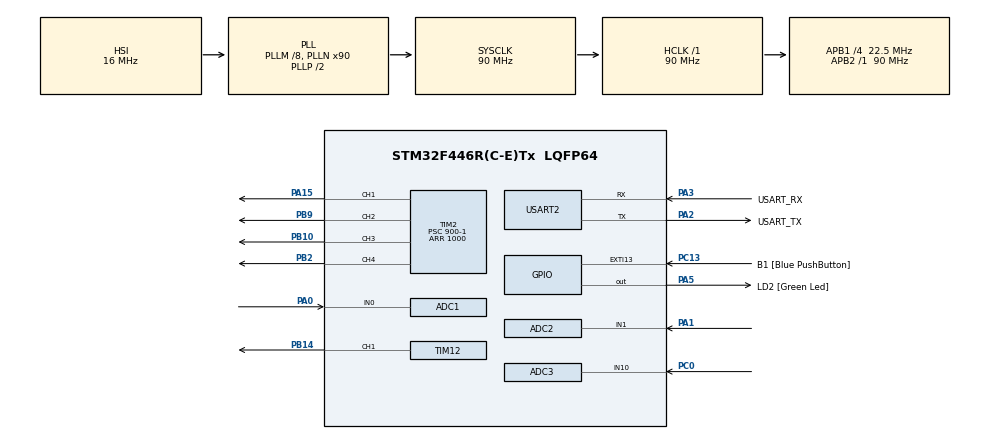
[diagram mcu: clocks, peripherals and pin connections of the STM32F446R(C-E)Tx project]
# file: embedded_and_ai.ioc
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ADC1.Channel-0\#ChannelRegularConversion=ADC_CHANNEL_0
ADC1.ContinuousConvMode=ENABLE
ADC1.NbrOfConversionFlag=1
ADC1.Rank-0\#ChannelRegularConversion=1
ADC1.SamplingTime-0\#ChannelRegularConversion=ADC_SAMPLETIME_3CYCLES
ADC1.master=1
ADC2.Channel-0\#ChannelRegularConversion=ADC_CHANNEL_1
ADC2.ContinuousConvMode=ENABLE
ADC2.NbrOfConversionFlag=1
ADC2.Rank-0\#ChannelRegularConversion=1
ADC2.SamplingTime-0\#ChannelRegularConversion=ADC_SAMPLETIME_3CYCLES
ADC3.Channel-0\#ChannelRegularConversion=ADC_CHANNEL_10
ADC3.ContinuousConvMode=ENABLE
ADC3.NbrOfConversionFlag=1
ADC3.Rank-0\#ChannelRegularConversion=1
ADC3.SamplingTime-0\#ChannelRegularConversion=ADC_SAMPLETIME_3CYCLES
Mcu.Family=STM32F4
Mcu.Name=STM32F446R(C-E)Tx
Mcu.Package=LQFP64
NVIC.PriorityGroup=NVIC_PRIORITYGROUP_0
NVIC.TIM1_TRG_COM_TIM11_IRQn=true\:0\:0\:false\:false\:true\:true\:true\:true
NVIC.TIM1_UP_TIM10_IRQn=true\:0\:0\:false\:false\:true\:true\:true\:true
NVIC.TIM2_IRQn=true\:0\:0\:false\:false\:true\:true\:true\:true
NVIC.TIM8_BRK_TIM12_IRQn=true\:0\:0\:false\:false\:true\:true\:true\:true
NVIC.TIM8_TRG_COM_TIM14_IRQn=true\:0\:0\:false\:false\:true\:true\:true\:true
NVIC.TIM8_UP_TIM13_IRQn=true\:0\:0\:false\:false\:true\:true\:true\:true
PA0-WKUP.Signal=ADCx_IN0
PA1.Signal=ADCx_IN1
PA13.GPIO_Label=TMS
PA13.Signal=SYS_JTMS-SWDIO
PA14.GPIO_Label=TCK
PA14.Signal=SYS_JTCK-SWCLK
PA15.Signal=S_TIM2_CH1_ETR
PA2.GPIO_Label=USART_TX
PA2.Mode=Asynchronous
PA2.Signal=USART2_TX
PA3.GPIO_Label=USART_RX
PA3.Mode=Asynchronous
PA3.Signal=USART2_RX
PA5.GPIO_Label=LD2 [Green Led]
PA5.Signal=GPIO_Output
PB10.Signal=S_TIM2_CH3
PB14.Signal=S_TIM12_CH1
PB2.Signal=S_TIM2_CH4
PB3.GPIO_Label=SWO
PB3.Signal=SYS_JTDO-SWO
PB9.Signal=S_TIM2_CH2
PC0.Signal=ADCx_IN10
PC13.GPIO_Label=B1 [Blue PushButton]
PC13.GPIO_ModeDefaultEXTI=GPIO_MODE_IT_FALLING
PC13.Signal=GPXTI13
PC14-OSC32_IN.Signal=RCC_OSC32_IN
PC15-OSC32_OUT.Signal=RCC_OSC32_OUT
PH0-OSC_IN.Signal=RCC_OSC_IN
PH1-OSC_OUT.Signal=RCC_OSC_OUT
ProjectManager.HeapSize=0x200
ProjectManager.StackSize=0x400
ProjectManager.TargetToolchain=STM32CubeIDE
RCC.AHBFreq_Value=90000000
RCC.APB1CLKDivider=RCC_HCLK_DIV4
RCC.APB1Freq_Value=22500000
RCC.APB1TimFreq_Value=45000000
RCC.APB2Freq_Value=90000000
RCC.APB2TimFreq_Value=90000000
RCC.CortexFreq_Value=90000000
RCC.FLatency-AdvancedSettings=FLASH_LATENCY_2
RCC.HCLKFreq_Value=90000000
RCC.HSE_VALUE=8000000
RCC.HSI_VALUE=16000000
RCC.LSE_VALUE=32768
RCC.PLLM=8
RCC.PLLN=90
RCC.SYSCLKFreq_VALUE=90000000
RCC.SYSCLKSource=RCC_SYSCLKSOURCE_PLLCLK
RCC.USBFreq_Value=90000000
RCC.VCOOutputFreq_Value=180000000
SH.ADCx_IN0.0=ADC1_IN0,IN0
SH.ADCx_IN1.0=ADC2_IN1,IN1
SH.ADCx_IN10.0=ADC3_IN10,IN10
SH.S_TIM12_CH1.0=TIM12_CH1,PWM Generation1 CH1
SH.S_TIM2_CH1_ETR.0=TIM2_CH1,PWM Generation1 CH1
SH.S_TIM2_CH2.0=TIM2_CH2,PWM Generation2 CH2
SH.S_TIM2_CH3.0=TIM2_CH3,PWM Generation3 CH3
SH.S_TIM2_CH4.0=TIM2_CH4,PWM Generation4 CH4
TIM12.Channel-PWM\ Generation1\ CH1=TIM_CHANNEL_1
TIM12.Period=1000-1
TIM12.Prescaler=900-1
TIM2.Channel-PWM\ Generation1\ CH1=TIM_CHANNEL_1
TIM2.Channel-PWM\ Generation2\ CH2=TIM_CHANNEL_2
TIM2.Channel-PWM\ Generation3\ CH3=TIM_CHANNEL_3
TIM2.Channel-PWM\ Generation4\ CH4=TIM_CHANNEL_4
TIM2.Period=1000
TIM2.Prescaler=900-1
USART2.VirtualMode=VM_ASYNC
VP_TIM10_VS_ClockSourceINT.Mode=Enable_Timer
VP_TIM11_VS_ClockSourceINT.Mode=Enable_Timer
VP_TIM13_VS_ClockSourceINT.Mode=Enable_Timer
VP_TIM14_VS_ClockSourceINT.Mode=Enable_Timer
VP_TIM2_VS_ClockSourceINT.Mode=Internal
board=NUCLEO-F446RE

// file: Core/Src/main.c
/* USER CODE BEGIN Header */
/**
 ******************************************************************************
 * @file           : main.c
 * @brief          : Main program body
 ******************************************************************************
 * @attention
 *
 * Copyright (c) 2023 STMicroelectronics.
 * All rights reserved.
 *
 * This software is licensed under terms that can be found in the LICENSE file
 * in the root directory of this software component.
 * If no LICENSE file comes with this software, it is provided AS-IS.
 *
 ******************************************************************************
 */
/* USER CODE END Header */
#include "main.h"
#include "adc.h"
#include "tim.h"
#include "usart.h"
#include "gpio.h"

/* USER CODE BEGIN Includes */
#include "PWM.h"
#include "MAPPING.h"
#include "servo.h"
#include "sensor_readings.h"
/* USER CODE END Includes */

/* USER CODE BEGIN PM */
#define fest_angle 140
#define rest_angle 40
/* USER CODE END PM */

/* USER CODE BEGIN PV */
uint32_t sensor1;
uint32_t sensor2;
uint32_t sensor3;
/* USER CODE END PV */

void SystemClock_Config(void);

int main(void)
{

	/* MCU Configuration--------------------------------------------------------*/

	/* Reset of all peripherals, Initializes the Flash interface and the Systick. */
	HAL_Init();

	/* Configure the system clock */
	SystemClock_Config();

	/* Initialize all configured peripherals */
	MX_GPIO_Init();
	MX_ADC1_Init();
	MX_ADC2_Init();
	MX_ADC3_Init();
	MX_TIM2_Init();
	MX_TIM10_Init();
	MX_TIM11_Init();
	MX_TIM12_Init();
	MX_TIM13_Init();
	MX_TIM14_Init();
	MX_USART2_UART_Init();

	/* Initialize PWM Timers*/
	HAL_TIM_PWM_Start(&htim2, TIM_CHANNEL_1);
	HAL_TIM_PWM_Start(&htim2, TIM_CHANNEL_2);
	HAL_TIM_PWM_Start(&htim2, TIM_CHANNEL_3);
	HAL_TIM_PWM_Start(&htim2, TIM_CHANNEL_4);
	HAL_TIM_PWM_Start(&htim12, TIM_CHANNEL_1);

	/* USER CODE BEGIN 2 */
	SERVO_t Servo1;
	Servo1.htim = htim2;
	Servo1.Copy_int32Channel = TIM_CHANNEL_4;

	SERVO_t Servo2;
	Servo2.htim = htim2;
	Servo2.Copy_int32Channel = TIM_CHANNEL_3;

	SERVO_t Servo3;
	Servo3.htim = htim2;
	Servo3.Copy_int32Channel = TIM_CHANNEL_2;

	SERVO_t Servo4;
	Servo4.htim = htim2;
	Servo4.Copy_int32Channel = TIM_CHANNEL_1;

	SERVO_t Servo5;
	Servo5.htim = htim12;
	Servo5.Copy_int32Channel = TIM_CHANNEL_1;
	Servo_void_SetAngle(Servo5, fest_angle);
	/* USER CODE END 2 */

	/* Infinite loop */
	/* USER CODE BEGIN WHILE */
	while (1)
	{
		//		sensor1 = analogRead(&hadc1);
		//		sensor2 = analogRead(&hadc1);
		sensor3 = analogRead(&hadc1);
		//		serial_print(sensor1);
		//		serial_print_str(",");
		//		serial_print(sensor2);
		//		serial_print_str(",");
		serial_println(sensor3);
		HAL_Delay(1);
		/* USER CODE END WHILE */

	}
}

void SystemClock_Config(void)
{
	RCC_OscInitTypeDef RCC_OscInitStruct = {0};
	RCC_ClkInitTypeDef RCC_ClkInitStruct = {0};

	/** Configure the main internal regulator output voltage
	 */
	__HAL_RCC_PWR_CLK_ENABLE();
	__HAL_PWR_VOLTAGESCALING_CONFIG(PWR_REGULATOR_VOLTAGE_SCALE3);

	/** Initializes the RCC Oscillators according to the specified parameters
	 * in the RCC_OscInitTypeDef structure.
	 */
	RCC_OscInitStruct.OscillatorType = RCC_OSCILLATORTYPE_HSI;
	RCC_OscInitStruct.HSIState = RCC_HSI_ON;
	RCC_OscInitStruct.HSICalibrationValue = RCC_HSICALIBRATION_DEFAULT;
	RCC_OscInitStruct.PLL.PLLState = RCC_PLL_ON;
	RCC_OscInitStruct.PLL.PLLSource = RCC_PLLSOURCE_HSI;
	RCC_OscInitStruct.PLL.PLLM = 8;
	RCC_OscInitStruct.PLL.PLLN = 90;
	RCC_OscInitStruct.PLL.PLLP = RCC_PLLP_DIV2;
	RCC_OscInitStruct.PLL.PLLQ = 2;
	RCC_OscInitStruct.PLL.PLLR = 2;
	if (HAL_RCC_OscConfig(&RCC_OscInitStruct) != HAL_OK)
	{
		Error_Handler();
	}

	/** Initializes the CPU, AHB and APB buses clocks
	 */
	RCC_ClkInitStruct.ClockType = RCC_CLOCKTYPE_HCLK|RCC_CLOCKTYPE_SYSCLK
			|RCC_CLOCKTYPE_PCLK1|RCC_CLOCKTYPE_PCLK2;
	RCC_ClkInitStruct.SYSCLKSource = RCC_SYSCLKSOURCE_PLLCLK;
	RCC_ClkInitStruct.AHBCLKDivider = RCC_SYSCLK_DIV1;
	RCC_ClkInitStruct.APB1CLKDivider = RCC_HCLK_DIV4;
	RCC_ClkInitStruct.APB2CLKDivider = RCC_HCLK_DIV1;

	if (HAL_RCC_ClockConfig(&RCC_ClkInitStruct, FLASH_LATENCY_2) != HAL_OK)
	{
		Error_Handler();
	}
}

void Error_Handler(void)
{
	__disable_irq();
	while (1)
	{
	}
}
